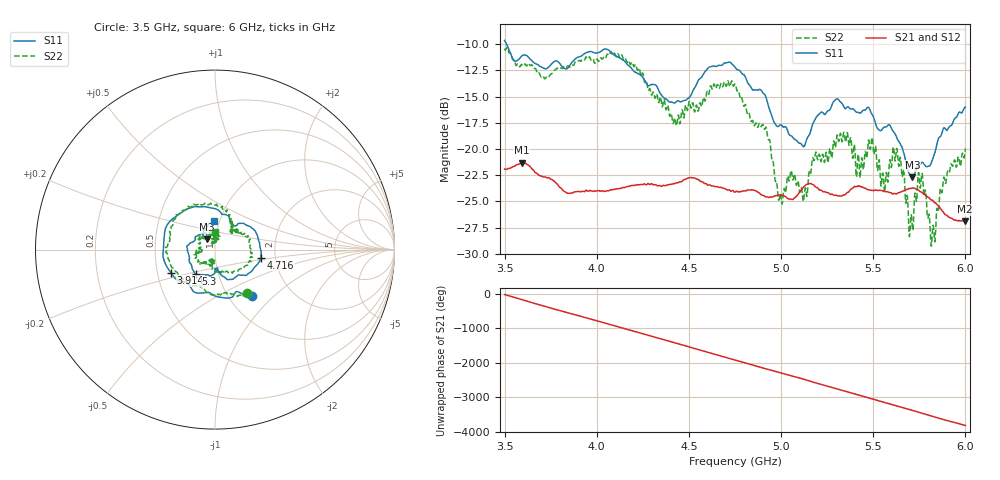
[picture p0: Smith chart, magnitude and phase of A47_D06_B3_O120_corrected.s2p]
! Created with skrf 1.9.0 (http://scikit-rf.org).
# Hz S RI R 50.0
!freq ReS11 ImS11 ReS21 ImS21 ReS12 ImS12 ReS22 ImS22
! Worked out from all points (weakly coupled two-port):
!   1601 points, 3.5 GHz to 6 GHz, reference 50 ohm
!   highest |S21| = -21.30 dB at 3.594 GHz (marker M1); lowest = -26.9 dB at 5.998 GHz (marker M2)
!   lowest |S11| = -22.7 dB at 5.713 GHz (marker M3), VSWR 1.16, Z = 45.4 + j5.23 ohm
!   |S11| at or under -10 dB: 3.511 GHz to end of sweep
!   |S22| runs from -29.3 to -10.3 dB; largest |S21 - S12| = 0.00097
!   S11 on the Smith chart (normalised r, x): 3.5 GHz: 1.27, -0.74; 3.914 GHz: 0.59, -0.17; 4.716 GHz: 1.68, -0.16; 5.3 GHz: 0.78, -0.22; 6 GHz: 0.94, +0.30
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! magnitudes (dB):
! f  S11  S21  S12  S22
! 3.5 GHz  -9.6  -21.9  -21.9  -10.4
! 3.594 GHz  -11.1  -21.3  -21.3  -12.0
! 3.914 GHz  -11.1  -24.1  -24.0  -11.6
! 3.917 GHz  -11.1  -24.1  -24.0  -11.5
! 4.144 GHz  -11.5  -23.7  -23.6  -11.4
! 4.334 GHz  -14.3  -23.5  -23.4  -15.5
! 4.425 GHz  -15.6  -23.3  -23.2  -17.2
! 4.716 GHz  -11.7  -23.9  -23.9  -13.7
! 4.75 GHz  -12.2  -24.1  -24.0  -13.8
! 4.914 GHz  -14.9  -24.5  -24.5  -18.0
! 4.995 GHz  -17.7  -24.4  -24.3  -24.3
! 5.13 GHz  -19.6  -23.5  -23.5  -23.8
! 5.167 GHz  -17.9  -23.4  -23.3  -21.3
! 5.3 GHz  -15.2  -24.4  -24.4  -19.1
! 5.584 GHz  -17.7  -24.1  -24.1  -22.1
! 5.638 GHz  -19.2  -24.2  -24.1  -21.6
! 5.713 GHz  -22.7  -23.7  -23.6  -27.6
! 5.756 GHz  -21.4  -24.1  -24.0  -23.7
! 5.823 GHz  -20.9  -24.9  -24.9  -27.3
! 5.875 GHz  -18.3  -25.9  -25.8  -24.0
! 5.998 GHz  -16.0  -26.9  -26.8  -20.1
! 6 GHz  -16.0  -26.9  -26.8  -19.9
